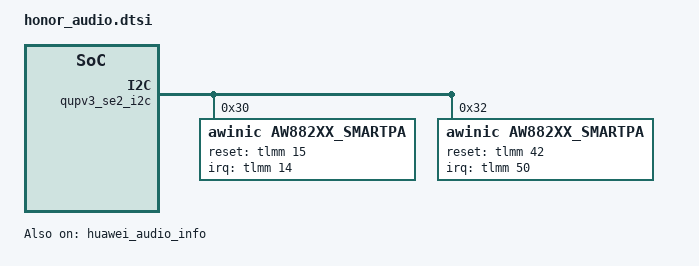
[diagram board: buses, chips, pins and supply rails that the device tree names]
&huawei_audio_info {
    compatible = "hw,hw_audio_info";
    product_identifier = "elz";
    builtin-primary-mic-exist;
    builtin-second-mic-exist;
    hand_held_dual_mic_strategy;
    loud_speaker_dual_mic_strategy;
    smartpa-num = "2";
    voice_vol_level = "10";
    status = "ok";
    hardware_info {
        mic_num = "3";
        hostless_id_info {
            hostless_id_reset = "true";
            spk_rx_hostless_id = "40";
            earpiece_rx_hostless_id = "30";
            headset_rx_hostless_id = "30";
            builtin_mic_tx_hostless_id = "31";
            hsmic_tx_hostless_id = "39";
        };
    };
};

&lahaina_snd {
    qcom,audio-routing =
        "AMIC1", "Analog Mic1",
        "Analog Mic1", "MIC BIAS1",
        "AMIC2", "Analog Mic2",
        "Analog Mic2", "MIC BIAS2",
        "AMIC3", "Analog Mic3",
        "Analog Mic3", "MIC BIAS3",
        "AMIC4", "Analog Mic4",
        "Analog Mic4", "MIC BIAS3",
        "AMIC5", "Analog Mic5",
        "Analog Mic5", "MIC BIAS4",
        "TX DMIC0", "Digital Mic0",
        "Digital Mic0", "MIC BIAS1",
        "TX DMIC1", "Digital Mic1",
        "Digital Mic1", "MIC BIAS1",
        "TX DMIC2", "Digital Mic2",
        "Digital Mic2", "MIC BIAS3",
        "TX DMIC3", "Digital Mic3",
        "Digital Mic3", "MIC BIAS3",
        "TX DMIC4", "Digital Mic4",
        "Digital Mic4", "MIC BIAS4",
        "TX DMIC5", "Digital Mic5",
        "Digital Mic5", "MIC BIAS4",
        "IN1_HPHL", "HPHL_OUT",
        "IN2_HPHR", "HPHR_OUT",
        "IN3_AUX", "AUX_OUT",
        "HAP_IN", "PCM_OUT",
        "RX_TX DEC0_INP", "TX DEC0 MUX",
        "RX_TX DEC1_INP", "TX DEC1 MUX",
        "RX_TX DEC2_INP", "TX DEC2 MUX",
        "RX_TX DEC3_INP", "TX DEC3 MUX",
        "TX SWR_INPUT", "WCD_TX_OUTPUT",
        "VA SWR_INPUT", "VA_SWR_CLK",
        "VA SWR_INPUT", "WCD_TX_OUTPUT",
        "VA_AIF1 CAP", "VA_SWR_CLK",
        "VA_AIF2 CAP", "VA_SWR_CLK",
        "VA_AIF3 CAP", "VA_SWR_CLK",
        "VA DMIC0", "Digital Mic0",
        "VA DMIC1", "Digital Mic1",
        "VA DMIC2", "Digital Mic2",
        "VA DMIC3", "Digital Mic3",
        "VA DMIC4", "Digital Mic4",
        "VA DMIC5", "Digital Mic5",
        "Digital Mic0", "VA MIC BIAS1",
        "Digital Mic1", "VA MIC BIAS1",
        "Digital Mic2", "VA MIC BIAS3",
        "Digital Mic3", "VA MIC BIAS3",
        "Digital Mic4", "VA MIC BIAS4",
        "Digital Mic5", "VA MIC BIAS4";
    asoc-codec  = <&stub_codec>, <&bolero>,
        <&wcd938x_codec>, <&swr_haptics>,
        <&swr_dmic_04>, <&swr_dmic_03>,
        <&swr_dmic_02>, <&swr_dmic_01>,
        <&ext_disp_audio_codec>;
    asoc-codec-names = "msm-stub-codec.1", "bolero_codec",
        "wcd938x_codec", "swr-haptics",
        "swr-dmic.04", "swr-dmic.03",
        "swr-dmic.02", "swr-dmic.01",
        "msm-ext-disp-audio-codec-rx";
    qcom,wsa-max-devs = <0>;
    qcom,quin-mi2s-gpios = <&cdc_quin_mi2s_gpios>;
};

&q6core {
    cdc_quin_mi2s_gpios: msm_cdc_pinctrl_quin {
        compatible = "qcom,msm-cdc-pinctrl";
        pinctrl-names = "aud_active", "aud_sleep";
        pinctrl-0 = <&lpi_i2s1_sck_active &lpi_i2s1_ws_active &lpi_i2s1_sd0_active &lpi_i2s1_sd1_active>;
        pinctrl-1 = <&lpi_i2s1_sck_sleep &lpi_i2s1_ws_sleep &lpi_i2s1_sd0_sleep &lpi_i2s1_sd1_sleep>;
        qcom,lpi-gpios;
    };
};

&qupv3_se2_i2c {
    status = "ok";
    aw882xx_smartpa@30 { // speaker
        compatible = "awinic,aw882xx_smartpa";
        reg = <0x30>;
        reset-gpio = <&tlmm 15 0>;
        irq-gpio = <&tlmm 14 0x2008>;
        sound-channel = <0>;
        aw-cali-mode = "aw_attr";
        //smartpa-vdd-supply = <&L8C>;
        status = "okay";
    };
    aw882xx_smartpa@32 { // receiver
        compatible = "awinic,aw882xx_smartpa";
        reg = <0x32>;
        reset-gpio = <&tlmm 42 0>;
        irq-gpio = <&tlmm 50 0x2008>;
        sound-channel = <1>;
        aw-cali-mode = "aw_attr";
        //smartpa-vdd-supply = <&L8C>;
        status = "okay";
    };
};
